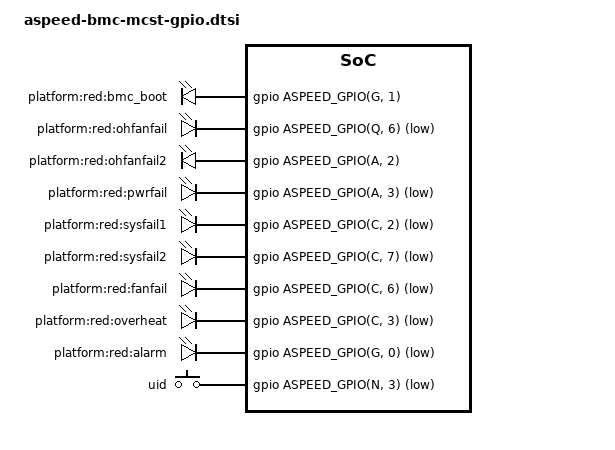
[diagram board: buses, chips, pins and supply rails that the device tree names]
// SPDX-License-Identifier: GPL-2.0+

/ {
	leds {
		compatible = "gpio-leds";
		bmc_boot {
			label = "platform:red:bmc_boot";
			gpios = <&gpio ASPEED_GPIO(G, 1) GPIO_ACTIVE_HIGH>;
			linux,default-trigger = "timer";
		};
		ohfanfail {
			label = "platform:red:ohfanfail";
			gpios = <&gpio ASPEED_GPIO(Q, 6) GPIO_ACTIVE_LOW>;
			linux,default-trigger = "none";
		};
		ohfanfail2 {
			label = "platform:red:ohfanfail2";
			gpios = <&gpio ASPEED_GPIO(A, 2) GPIO_ACTIVE_HIGH>;
			linux,default-trigger = "none";
		};
		pwrfail {
			label = "platform:red:pwrfail";
			gpios = <&gpio ASPEED_GPIO(A, 3) GPIO_ACTIVE_LOW>;
			linux,default-trigger = "none";
		};
		sysfail1 {
			label = "platform:red:sysfail1";
			gpios = <&gpio ASPEED_GPIO(C, 2) GPIO_ACTIVE_LOW>;
			linux,default-trigger = "none";
		};
		sysfail2 {
			label = "platform:red:sysfail2";
			gpios = <&gpio ASPEED_GPIO(C, 7) GPIO_ACTIVE_LOW>;
			linux,default-trigger = "none";
		};
		fanfail {
			label = "platform:red:fanfail";
			gpios = <&gpio ASPEED_GPIO(C, 6) GPIO_ACTIVE_LOW>;
			linux,default-trigger = "none";
		};
		overheat {
			label = "platform:red:overheat";
			gpios = <&gpio ASPEED_GPIO(C, 3) GPIO_ACTIVE_LOW>;
			linux,default-trigger = "none";
		};
		alarm {
			label = "platform:red:alarm";
			gpios = <&gpio ASPEED_GPIO(G, 0) GPIO_ACTIVE_LOW>;
			linux,default-trigger = "none";
		};
	};

	gpio-keys {
		compatible = "gpio-keys";
		uid {
			label = "uid";
			linux,code = <148>; /* KEY_PROG1 */
			gpios = <&gpio ASPEED_GPIO(N, 3) GPIO_ACTIVE_LOW>;
		};
	};
};
